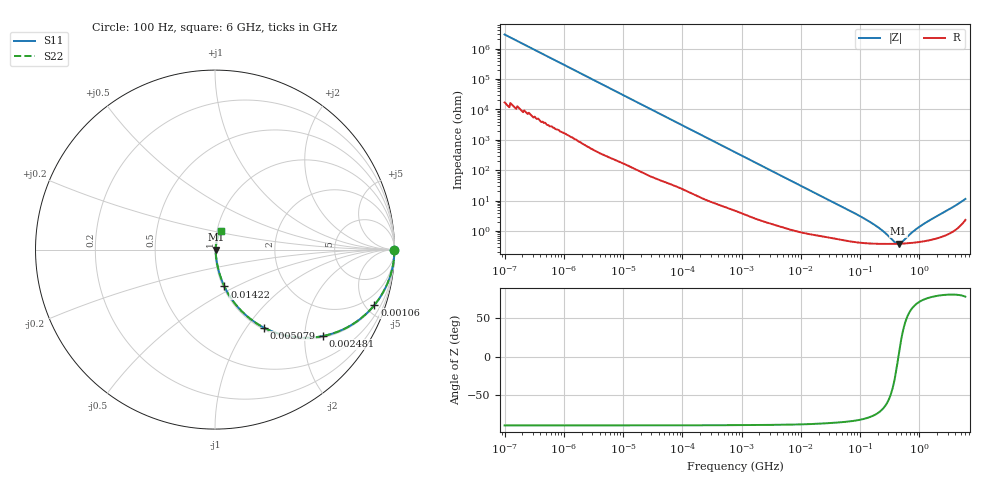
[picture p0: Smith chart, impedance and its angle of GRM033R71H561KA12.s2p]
!Murata Part Number: GRM033R71H561KA12
!These Parameters are Measured in Series Mode Connection
!Data Generated on Mar 30, 2021
!  o--ll--o
!Port1  Port2
!  o------o
!Operation Temp=25[degC], DC Bias Voltage=0[V]
!Freq. Start=100[Hz] Stop=6[GHz] 401[Steps]
# Hz S RI R 50
!Freq.(Hz) S11(Real) S11(Imag) S21(Real) S21(Imag) S12(Real) S12(Imag) S22(Real) S22(Imag)
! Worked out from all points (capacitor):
!   401 points, 100 Hz to 6 GHz, reference 50 ohm
!   read as one part in series: C = 544 pF near 109 Hz
!   lowest |Z| = 382 mohm at 447 MHz (marker M1)
!   series resonance near 444 MHz, so ESL is about 240 pH
!   S11 on the Smith chart (normalised r, x): 100 Hz: open; 1.06 MHz: 1.07, -5.74; 2.481 MHz: 1.04, -2.46; 5.079 MHz: 1.03, -1.21; 14.22 MHz: 1.02, -0.44; 6 GHz: 1.05, +0.22
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100  1 -3.42e-05  2e-07 3.42e-05  2e-07 3.42e-05  1 -3.42e-05
306  1 -0.000104  6e-07 0.000104  6e-07 0.000104  1 -0.000104
2008  1 -0.000679  4e-06 0.000679  4e-06 0.000679  1 -0.000679
40335  0.9997 -0.0135  0.000271 0.0135  0.000271 0.0135  0.9997 -0.0135
231233  0.9935 -0.0762  0.00651 0.0762  0.00651 0.0762  0.9935 -0.0762
774597  0.9363 -0.2384  0.0637 0.2384  0.0637 0.2384  0.9363 -0.2384
1059725  0.8886 -0.3084  0.1114 0.3084  0.1114 0.3084  0.8886 -0.3084
2481164  0.6015 -0.4816  0.3985 0.4816  0.3985 0.4816  0.6015 -0.4816
5079039  0.2729 -0.4349  0.7271 0.4349  0.7271 0.4349  0.2729 -0.4349
8311524  0.128 -0.3211  0.872 0.3211  0.872 0.3211  0.128 -0.3211
1.422411e7  0.0523 -0.2053  0.9477 0.2053  0.9477 0.2053  0.0523 -0.2053
1.555665e7  0.0451 -0.1894  0.9549 0.1894  0.9549 0.1894  0.0451 -0.1894
3.80911e7  0.0122 -0.081  0.9878 0.081  0.9878 0.081  0.0122 -0.081
1.275994e8  0.00447 -0.023  0.9955 0.023  0.9955 0.023  0.00447 -0.023
2.088084e8  0.00392 -0.0119  0.9961 0.0119  0.9961 0.0119  0.00392 -0.0119
3.124326e8  0.00378 -0.00517  0.9962 0.00517  0.9962 0.00517  0.00378 -0.00517
3.908258e8  0.00378 -0.00184  0.9962 0.00184  0.9962 0.00184  0.00378 -0.00184
4.470121e8  0.00381 9.89e-05  0.9962 -9.89e-05  0.9962 -9.89e-05  0.00381 9.89e-05
5.112761e8  0.00385 0.00204  0.9961 -0.00204  0.9961 -0.00204  0.00385 0.00204
8.000355e8  0.00419 0.00893  0.9958 -0.00893  0.9958 -0.00893  0.00419 0.00893
1.144649e9  0.00475 0.0156  0.9953 -0.0156  0.9953 -0.0156  0.00475 0.0156
6e9  0.0341 0.1055  0.9659 -0.1055  0.9659 -0.1055  0.0341 0.1055
